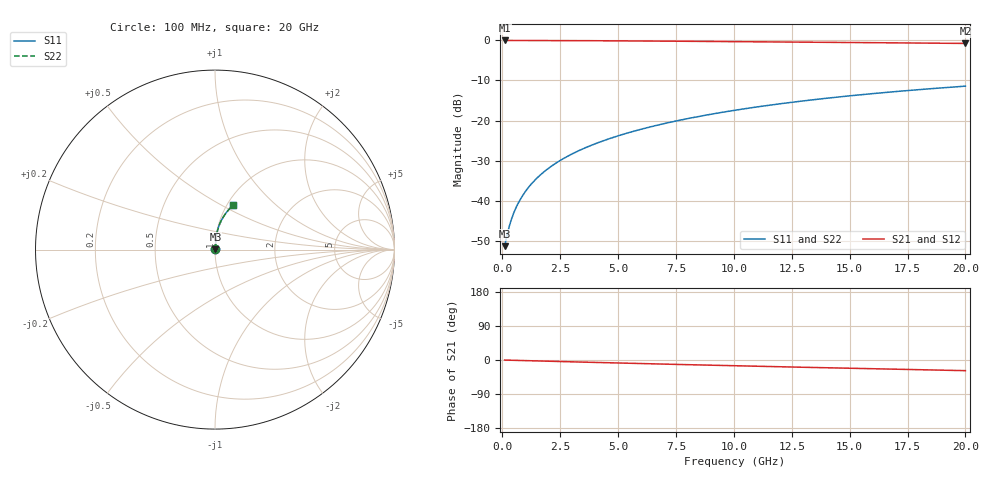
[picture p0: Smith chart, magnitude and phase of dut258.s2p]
! Touchstone file exported from HFSS 2024.1.0
!  File:  C:/UserFiles/LocalFiles/RDL_TSV_Batchsim/temp_RDL_bottom_258_1778701972.aedt
!  Generated:  03:55:24 AM May 14, 2026
!  Design:  RDL_bottom
!  Project:  temp_RDL_bottom_258_1778701972
!  Setup:  Setup1
!  Solution:  Sweep
! Variables:
!  dtsv = 10.80580581um
!  hbump = 3um
!  htsv = 81.11um
!  ldown = 402.16um
!  lrdl = 100um
!  p = 40
!  p1 = 40.83um
!  rhole = 1um
!  t = 450um
!  tdown = 3.46um
!  trdl = 3.915915916um
!  wdown = 19.3um
!  wrdl = 20um
# GHz S MA R 50.000000
! Terminal data exported
! Port[1] = RDL1_T1
! Port[2] = RDL1_T2
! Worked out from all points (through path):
!   200 points, 100 MHz to 20 GHz, reference 50 ohm
!   highest |S21| = -0.02 dB at 100 MHz (marker M1); lowest = -0.8 dB at 20 GHz (marker M2)
!   group delay of S21, straight-line fit = 3.88 ps
!   lowest |S11| = -51.3 dB at 100 MHz (marker M3), VSWR 1.01, Z = 50.2 + j0.141 ohm
!   |S11| at or under -10 dB: start of sweep to end of sweep
!   |S22| runs from -51.3 to -11.4 dB; largest |S21 - S12| = 2.2e-15
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0.1  0.002718 31.1  0.9977 -0.2  0.9977 -0.2  0.002718 31.1
! Gamma 0 0 0 0
! Port Impedance 50 0 50 0
0.2  0.003674 48.8  0.9976 -0.3  0.9976 -0.3  0.003674 48.8
0.3  0.00479 58.1  0.9974 -0.5  0.9974 -0.5  0.00479 58.1
0.4  0.005946 63.8  0.9973 -0.7  0.9973 -0.7  0.005946 63.8
0.5  0.007114 67.6  0.9972 -0.8  0.9972 -0.8  0.007114 67.6
0.6  0.008291 70.5  0.9971 -1.0  0.9971 -1.0  0.008291 70.5
0.8  0.01067 74.4  0.9969 -1.3  0.9969 -1.3  0.01067 74.4
1.1  0.01431 78.0  0.9965 -1.8  0.9965 -1.8  0.01431 78.0
1.3  0.01676 79.5  0.9963 -2.1  0.9963 -2.1  0.01676 79.5
1.6  0.02048 81.2  0.9959 -2.6  0.9959 -2.6  0.02048 81.2
2.1  0.02674 82.8  0.995 -3.4  0.995 -3.4  0.02674 82.8
2.7  0.03437 83.9  0.9937 -4.3  0.9937 -4.3  0.03437 83.9
3.5  0.04469 84.5  0.9916 -5.6  0.9916 -5.6  0.04469 84.5
4.2  0.05387 84.7  0.9894 -6.7  0.9894 -6.7  0.05387 84.7
5  0.06452 84.6  0.9865 -7.9  0.9865 -7.9  0.06452 84.6
5.9  0.07671 84.2  0.983 -9.3  0.983 -9.3  0.07671 84.2
6.8  0.08907 83.6  0.9793 -10.6  0.9793 -10.6  0.08907 83.6
8.4  0.1114 82.2  0.9722 -12.9  0.9722 -12.9  0.1114 82.2
10.1  0.1353 80.4  0.9644 -15.3  0.9644 -15.3  0.1353 80.4
13.4  0.1815 76.3  0.9486 -19.7  0.9486 -19.7  0.1815 76.3
16.7  0.2263 71.9  0.9326 -24.0  0.9326 -24.0  0.2262 71.9
20  0.2687 67.6  0.9163 -28.1  0.9163 -28.1  0.2686 67.5
